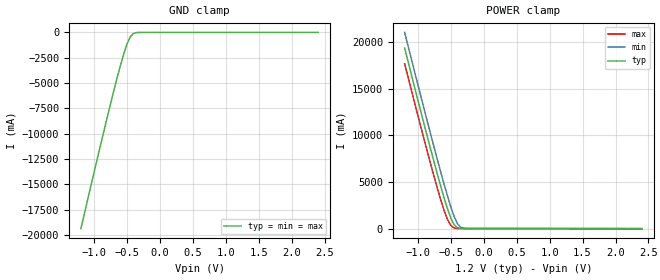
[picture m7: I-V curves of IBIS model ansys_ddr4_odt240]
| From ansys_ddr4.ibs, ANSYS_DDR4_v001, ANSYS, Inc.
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|Model ansys_ddr4_odt240
[Model] ansys_ddr4_odt240
Model_type Input
Vinl = 0.8
Vinh = 1.0
C_comp 1e-13 9.5e-14 1.05e-13
[Temperature Range] 25.0 0.0 85.0
[Voltage Range] 1.2 1.14 1.26
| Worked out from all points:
|   GND clamp passes 1 mA (typ) near -0.27 V on its own axis
|   POWER clamp passes 1 mA (typ) near -0.21 V on its own axis
[GND Clamp]
-1.2V     -19.39A    -19.39A    -19.39A
-850mV    -9.722A    -9.722A    -9.722A
-700mV    -5.751A    -5.751A    -5.751A
-600mV    -3.265A    -3.265A    -3.265A
-550mV    -2.13A     -2.13A     -2.13A
-500mV    -1.141A    -1.141A    -1.141A
-450mV    -425.1mA   -425.1mA   -425.1mA
-400mV    -94.51mA   -94.51mA   -94.51mA
-250mV    -337.2uA   -337.2uA   -337.2uA
2.4V      240uA      240uA      240uA
[POWER Clamp]
-1.2V     19.39A     21.08A     17.71A
-950mV    12.45A     14.1A      10.81A
-800mV    8.382A     9.996A     6.793A
-700mV    5.754A     7.32A      4.237A
-600mV    3.267A     4.736A     1.919A
-550mV    2.132A     3.506A     973mA
-500mV    1.143A     2.35A      329.7mA
-450mV    426.9mA    1.324A     68mA
-400mV    96.13mA    540.7mA    11.58mA
-350mV    16.46mA    134.3mA    2.629mA
-200mV    877.9uA    1.601mA    559.9uA
2.4V      -10mA      -10.26mA   -9.762mA
